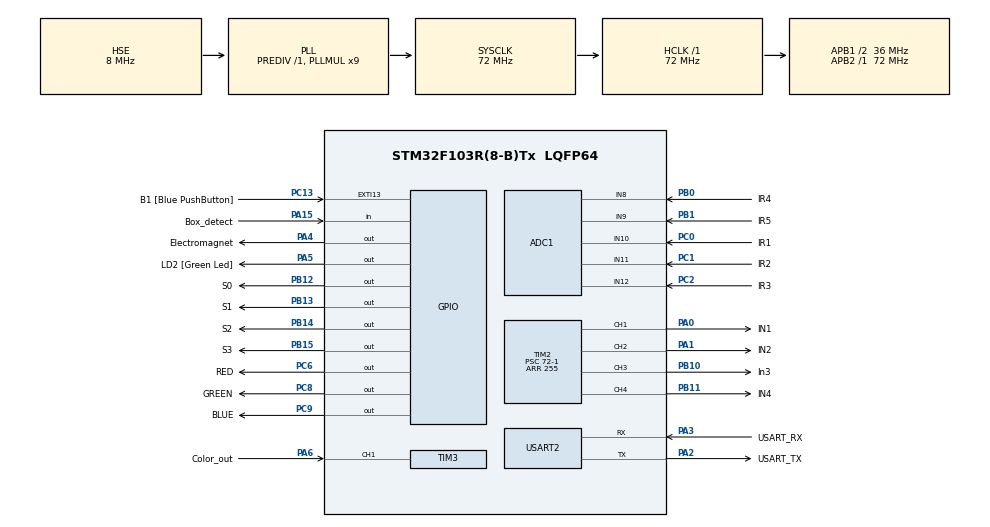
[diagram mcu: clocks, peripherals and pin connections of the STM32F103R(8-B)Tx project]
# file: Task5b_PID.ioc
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ADC1.Channel-0\#ChannelRegularConversion=ADC_CHANNEL_10
ADC1.Channel-1\#ChannelRegularConversion=ADC_CHANNEL_11
ADC1.Channel-2\#ChannelRegularConversion=ADC_CHANNEL_12
ADC1.Channel-3\#ChannelRegularConversion=ADC_CHANNEL_8
ADC1.Channel-4\#ChannelRegularConversion=ADC_CHANNEL_9
ADC1.ContinuousConvMode=ENABLE
ADC1.NbrOfConversion=5
ADC1.NbrOfConversionFlag=1
ADC1.Rank-0\#ChannelRegularConversion=1
ADC1.Rank-1\#ChannelRegularConversion=2
ADC1.Rank-2\#ChannelRegularConversion=3
ADC1.Rank-3\#ChannelRegularConversion=4
ADC1.Rank-4\#ChannelRegularConversion=5
ADC1.SamplingTime-0\#ChannelRegularConversion=ADC_SAMPLETIME_55CYCLES_5
ADC1.SamplingTime-1\#ChannelRegularConversion=ADC_SAMPLETIME_55CYCLES_5
ADC1.SamplingTime-2\#ChannelRegularConversion=ADC_SAMPLETIME_55CYCLES_5
ADC1.SamplingTime-3\#ChannelRegularConversion=ADC_SAMPLETIME_55CYCLES_5
ADC1.SamplingTime-4\#ChannelRegularConversion=ADC_SAMPLETIME_55CYCLES_5
ADC1.master=1
Dma.ADC1.0.Direction=DMA_PERIPH_TO_MEMORY
Dma.ADC1.0.Instance=DMA1_Channel1
Dma.ADC1.0.MemDataAlignment=DMA_MDATAALIGN_HALFWORD
Dma.ADC1.0.MemInc=DMA_MINC_ENABLE
Dma.ADC1.0.Mode=DMA_CIRCULAR
Dma.ADC1.0.PeriphDataAlignment=DMA_PDATAALIGN_HALFWORD
Dma.ADC1.0.PeriphInc=DMA_PINC_DISABLE
Dma.ADC1.0.Priority=DMA_PRIORITY_LOW
Dma.Request0=ADC1
Mcu.Family=STM32F1
Mcu.Name=STM32F103R(8-B)Tx
Mcu.Package=LQFP64
NVIC.ADC1_2_IRQn=true\:0\:0\:false\:false\:true\:true\:true\:true
NVIC.DMA1_Channel1_IRQn=true\:0\:0\:false\:false\:true\:false\:true\:true
NVIC.EXTI15_10_IRQn=true\:0\:0\:false\:false\:true\:true\:true\:true
NVIC.PriorityGroup=NVIC_PRIORITYGROUP_4
NVIC.TIM3_IRQn=true\:0\:0\:false\:false\:true\:true\:true\:true
PA0-WKUP.GPIO_Label=IN1
PA0-WKUP.Signal=S_TIM2_CH1_ETR
PA1.GPIO_Label=IN2
PA1.Signal=S_TIM2_CH2
PA13.GPIO_Label=TMS
PA13.Mode=Serial_Wire
PA13.Signal=SYS_JTMS-SWDIO
PA14.GPIO_Label=TCK
PA14.Mode=Serial_Wire
PA14.Signal=SYS_JTCK-SWCLK
PA15.GPIO_Label=Box_detect
PA15.Signal=GPIO_Input
PA2.GPIO_Label=USART_TX
PA2.GPIO_Mode=GPIO_MODE_AF_PP
PA2.GPIO_PuPd=GPIO_NOPULL
PA2.GPIO_Speed=GPIO_SPEED_FREQ_LOW
PA2.Mode=Asynchronous
PA2.Signal=USART2_TX
PA3.GPIO_Label=USART_RX
PA3.GPIO_Mode=GPIO_MODE_AF_PP
PA3.GPIO_PuPd=GPIO_NOPULL
PA3.GPIO_Speed=GPIO_SPEED_FREQ_LOW
PA3.Mode=Asynchronous
PA3.Signal=USART2_RX
PA4.GPIO_Label=Electromagnet
PA4.Signal=GPIO_Output
PA5.GPIO_Label=LD2 [Green Led]
PA5.GPIO_ModeDefaultOutputPP=GPIO_MODE_OUTPUT_PP
PA5.GPIO_PuPd=GPIO_NOPULL
PA5.GPIO_Speed=GPIO_SPEED_FREQ_LOW
PA5.Signal=GPIO_Output
PA6.GPIO_Label=Color_out
PA6.Signal=S_TIM3_CH1
PB0.GPIO_Label=IR4
PB0.Signal=ADCx_IN8
PB1.GPIO_Label=IR5
PB1.Signal=ADCx_IN9
PB10.GPIO_Label=In3
PB10.Signal=S_TIM2_CH3
PB11.GPIO_Label=IN4
PB11.Signal=S_TIM2_CH4
PB12.GPIO_Label=S0
PB12.Signal=GPIO_Output
PB13.GPIO_Label=S1
PB13.Signal=GPIO_Output
PB14.GPIO_Label=S2
PB14.Signal=GPIO_Output
PB15.GPIO_Label=S3
PB15.Signal=GPIO_Output
PB3.GPIO_Label=SWO
PB3.Signal=SYS_JTDO-TRACESWO
PC0.GPIO_Label=IR1
PC0.Signal=ADCx_IN10
PC1.GPIO_Label=IR2
PC1.Signal=ADCx_IN11
PC13-TAMPER-RTC.GPIO_Label=B1 [Blue PushButton]
PC13-TAMPER-RTC.GPIO_PuPd=GPIO_NOPULL
PC13-TAMPER-RTC.Signal=GPXTI13
PC14-OSC32_IN.Mode=LSE-External-Oscillator
PC14-OSC32_IN.Signal=RCC_OSC32_IN
PC15-OSC32_OUT.Mode=LSE-External-Oscillator
PC15-OSC32_OUT.Signal=RCC_OSC32_OUT
PC2.GPIO_Label=IR3
PC2.Signal=ADCx_IN12
PC6.GPIO_Label=RED
PC6.Signal=GPIO_Output
PC8.GPIO_Label=GREEN
PC8.Signal=GPIO_Output
PC9.GPIO_Label=BLUE
PC9.Signal=GPIO_Output
PD0-OSC_IN.Mode=HSE-External-Clock-Source
PD0-OSC_IN.Signal=RCC_OSC_IN
PD1-OSC_OUT.Mode=HSE-External-Clock-Source
PD1-OSC_OUT.Signal=RCC_OSC_OUT
ProjectManager.HeapSize=0x200
ProjectManager.StackSize=0x400
ProjectManager.TargetToolchain=STM32CubeIDE
RCC.ADCPresc=RCC_ADCPCLK2_DIV6
RCC.AHBFreq_Value=72000000
RCC.APB1CLKDivider=RCC_HCLK_DIV2
RCC.APB1Freq_Value=36000000
RCC.APB1TimFreq_Value=72000000
RCC.APB2Freq_Value=72000000
RCC.APB2TimFreq_Value=72000000
RCC.HCLKFreq_Value=72000000
RCC.PLLMUL=RCC_PLL_MUL9
RCC.PLLSourceVirtual=RCC_PLLSOURCE_HSE
RCC.RTCClockSelection=RCC_RTCCLKSOURCE_LSE
RCC.SYSCLKFreq_VALUE=72000000
RCC.SYSCLKSource=RCC_SYSCLKSOURCE_PLLCLK
RCC.USBFreq_Value=72000000
SH.ADCx_IN10.0=ADC1_IN10,IN10
SH.ADCx_IN11.0=ADC1_IN11,IN11
SH.ADCx_IN12.0=ADC1_IN12,IN12
SH.ADCx_IN8.0=ADC1_IN8,IN8
SH.ADCx_IN9.0=ADC1_IN9,IN9
SH.S_TIM2_CH1_ETR.0=TIM2_CH1,PWM Generation1 CH1
SH.S_TIM2_CH2.0=TIM2_CH2,PWM Generation2 CH2
SH.S_TIM2_CH3.0=TIM2_CH3,PWM Generation3 CH3
SH.S_TIM2_CH4.0=TIM2_CH4,PWM Generation4 CH4
SH.S_TIM3_CH1.0=TIM3_CH1,Input_Capture1_from_TI1
TIM2.Channel-PWM\ Generation1\ CH1=TIM_CHANNEL_1
TIM2.Channel-PWM\ Generation2\ CH2=TIM_CHANNEL_2
TIM2.Channel-PWM\ Generation3\ CH3=TIM_CHANNEL_3
TIM2.Channel-PWM\ Generation4\ CH4=TIM_CHANNEL_4
TIM2.Period=255
TIM2.Prescaler=72-1
TIM3.Channel-Input_Capture1_from_TI1=TIM_CHANNEL_1
USART2.VirtualMode=VM_ASYNC
board=NUCLEO-F103RB

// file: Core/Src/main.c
/* USER CODE BEGIN Header */
/**
  ******************************************************************************
  * @file           : main.c
  * @brief          : Refactored Reliable Line Follower (Dynamic Contrast)
  ******************************************************************************
  * @attention
  *
  * REWRITTEN FOR RELIABILITY
  * Implements Dynamic Contrast Detection to handle changing floor colors.
  *
  ******************************************************************************
  */
/* USER CODE END Header */
#include "main.h"
#include "Box_Handling.h"

/* USER CODE BEGIN Includes */
#include <math.h>
#include <stdlib.h>
#include <stdio.h>
/* USER CODE END Includes */

/* USER CODE BEGIN PD */
#define NUM_SENSORS 5

// --- TUNING PARAMETERS ---
#define KP 35.0f
#define KD 100.0f
#define BASE_SPEED 100
#define MAX_PWM 200
#define TURN_SPEED 90

// LOGIC THRESHOLDS
// If Average Sensor Value > 2500, we assume White Floor (High values)
#define FLOOR_COLOR_THRESHOLD 2500

/* USER CODE END PD */

ADC_HandleTypeDef hadc1;
DMA_HandleTypeDef hdma_adc1;

TIM_HandleTypeDef htim2;
TIM_HandleTypeDef htim3;

UART_HandleTypeDef huart2;

/* USER CODE BEGIN PV */
volatile uint16_t adc_buffer[NUM_SENSORS];

// Normalized Line Position (0-1000) for each sensor
float line_map[NUM_SENSORS];

// Weights: Left ... Center ... Right
const float sensor_weights[NUM_SENSORS] = {-2.0f, -1.0f, 0.0f, 1.0f, 2.0f};

/* USER CODE END PV */

void SystemClock_Config(void);
static void MX_GPIO_Init(void);
static void MX_DMA_Init(void);
static void MX_USART2_UART_Init(void);
static void MX_ADC1_Init(void);
static void MX_TIM2_Init(void);
static void MX_TIM3_Init(void);
/* USER CODE BEGIN PFP */
void Motor_SetSpeed(int left, int right);
void Handle_Turn(int direction);
void Calibrate_Sensors(void); // Keeping prototype but calibration is dynamic now
/* USER CODE END PFP */

/* USER CODE BEGIN 0 */

void Motor_SetSpeed(int left, int right) {
  if (left > 255) left = 255; else if (left < -255) left = -255;
  if (right > 255) right = 255; else if (right < -255) right = -255;

  if (left >= 0) {
    __HAL_TIM_SET_COMPARE(&htim2, TIM_CHANNEL_1, left);
    __HAL_TIM_SET_COMPARE(&htim2, TIM_CHANNEL_2, 0);
  } else {
    __HAL_TIM_SET_COMPARE(&htim2, TIM_CHANNEL_1, 0);
    __HAL_TIM_SET_COMPARE(&htim2, TIM_CHANNEL_2, -left);
  }

  if (right >= 0) {
    __HAL_TIM_SET_COMPARE(&htim2, TIM_CHANNEL_3, right);
    __HAL_TIM_SET_COMPARE(&htim2, TIM_CHANNEL_4, 0);
  } else {
    __HAL_TIM_SET_COMPARE(&htim2, TIM_CHANNEL_3, 0);
    __HAL_TIM_SET_COMPARE(&htim2, TIM_CHANNEL_4, -right);
  }
}

// Robust Turn Function using Dynamic Detection
void Handle_Turn(int direction) {
    // 1. Stop
    Motor_SetSpeed(0, 0);
    HAL_Delay(100);

    // 2. Move Forward slightly
    Motor_SetSpeed(80, 80);
    HAL_Delay(250);

    // 3. Start Spin
    int spd_L = (direction == -1) ? -TURN_SPEED : TURN_SPEED;
    int spd_R = (direction == -1) ? TURN_SPEED : -TURN_SPEED;
    Motor_SetSpeed(spd_L, spd_R);
    HAL_Delay(300); // Blind spin

    // 4. Wait for Line
    uint32_t start_time = HAL_GetTick();
    while (HAL_GetTick() - start_time < 2000) { // 2s Timeout
        // Determine Contrast
        long sum = 0;
        for(int i=0; i<NUM_SENSORS; i++) sum += adc_buffer[i];
        long avg = sum / NUM_SENSORS;

        int center_val = adc_buffer[2];
        int on_line = 0;

        // Dynamic Threshold Check
        if (avg > FLOOR_COLOR_THRESHOLD) {
             // White Floor: Line is Low (Dark)
             if (center_val < (avg - 600)) on_line = 1;
        } else {
             // Black Floor: Line is High (White)
             if (center_val > (avg + 600)) on_line = 1;
        }

        if (on_line) {
            Motor_SetSpeed(0, 0);
            return;
        }

        HAL_Delay(5);
    }
    // Timeout - Stop
    Motor_SetSpeed(0, 0);
}

void Calibrate_Sensors(void) {
    // Legacy support: Just blink to show readiness
    // Since we use dynamic contrast, we don't need MIN/MAX arrays hardcoded.
    HAL_GPIO_WritePin(GPIOC, RED_Pin, GPIO_PIN_SET);
    HAL_Delay(500);
    HAL_GPIO_WritePin(GPIOC, RED_Pin, GPIO_PIN_RESET);
}

/* USER CODE END 0 */

int main(void)
{

  /* MCU Configuration--------------------------------------------------------*/
  HAL_Init();

  SystemClock_Config();

  /* Initialize all configured peripherals */
  MX_GPIO_Init();
  MX_DMA_Init();
  MX_USART2_UART_Init();
  MX_ADC1_Init();
  MX_TIM2_Init();
  MX_TIM3_Init();
  /* USER CODE BEGIN 2 */

  HAL_TIM_PWM_Start(&htim2, TIM_CHANNEL_1);
  HAL_TIM_PWM_Start(&htim2, TIM_CHANNEL_2);
  HAL_TIM_PWM_Start(&htim2, TIM_CHANNEL_3);
  HAL_TIM_PWM_Start(&htim2, TIM_CHANNEL_4);

  HAL_ADC_Start_DMA(&hadc1, (uint32_t*)adc_buffer, NUM_SENSORS);

  // Wait to start
  HAL_Delay(1000);
  Calibrate_Sensors();

  /* Initialize Box Handling (Color Sensor + Electromagnet) */
  Box_Init(&htim3);

  float last_error = 0;

  /* USER CODE END 2 */

  /* Infinite loop */
  while (1)
  {

    /* USER CODE BEGIN 3 */

    // --- 1. SENSOR ANALYSIS ---
    long total_raw = 0;
    uint16_t max_val = 0;
    uint16_t min_val = 4096;

    for(int i=0; i<NUM_SENSORS; i++) {
        total_raw += adc_buffer[i];
        if (adc_buffer[i] > max_val) max_val = adc_buffer[i];
        if (adc_buffer[i] < min_val) min_val = adc_buffer[i];
    }
    long avg_raw = total_raw / NUM_SENSORS;

    // --- 2. DYNAMICAL NORMALIZATION ---
    // Detect Floor Color
    int white_floor = (avg_raw > FLOOR_COLOR_THRESHOLD);

    float weighted_sum = 0;
    float total_line_val = 0;

    for(int i=0; i<NUM_SENSORS; i++) {
        float val;

        if (white_floor) {
            // WHITE FLOOR (BackgroundHigh, LineLow)
            // Signal = (Background - Sensor)
            // Use local max as baseline for background to be robust
            if (max_val < 3800) max_val = 4095;

            val = (float)(max_val - adc_buffer[i]);
            if (val < 0) val = 0;
        } else {
            // BLACK FLOOR (BackgroundLow, LineHigh)
            // Signal = (Sensor - Background)
             // Use local min as baseline
            val = (float)(adc_buffer[i] - min_val);
            if (val < 0) val = 0;
        }

        line_map[i] = val;

        // Accumulate if signal is significant (> 300 to filter noise)
        if (val > 400.0f) {
            weighted_sum += val * sensor_weights[i];
            total_line_val += val;
        }
    }

    // --- 3. TURN DETECTION ---
    // If Edge Sensors are strongly triggered relative to center
    // Check normalized values strength (>700 is strong contrast)
    int turn_detected = 0;

    // Robust check: S0 is Strong AND triggers logic
    if (line_map[0] > 700 && line_map[0] > line_map[2] * 1.5) {
         Handle_Turn(-1);
         turn_detected = 1;
    }
    else if (line_map[4] > 700 && line_map[4] > line_map[2] * 1.5) {
         Handle_Turn(1);
         turn_detected = 1;
    }

    if (turn_detected) {
        last_error = 0;
        continue;
    }

    // --- 4. PID CALCULATION ---
    float position;
    if (total_line_val > 500) {
        position = weighted_sum / total_line_val;
    } else {
        // Line Lost -> Use last error to sweep
        if (last_error > 0) position = 2.5f;
        else position = -2.5f;
    }

    float error = position;
    float P = error;
    float D = error - last_error;
    last_error = error;

    float correction = (KP * P) + (KD * D);

    int left_motor = BASE_SPEED + (int)correction;
    int right_motor = BASE_SPEED - (int)correction;

    Motor_SetSpeed(left_motor, right_motor);

    /* Box Handling Process (Keep running this) */
    Box_Process();

    HAL_Delay(1);
  }
  /* USER CODE END 3 */
}
//...
// (Previous MX Functions follow, identical to before)
//...
void SystemClock_Config(void)
{
  RCC_OscInitTypeDef RCC_OscInitStruct = {0};
  RCC_ClkInitTypeDef RCC_ClkInitStruct = {0};
  RCC_PeriphCLKInitTypeDef PeriphClkInit = {0};
  RCC_OscInitStruct.OscillatorType = RCC_OSCILLATORTYPE_HSE;
  RCC_OscInitStruct.HSEState = RCC_HSE_BYPASS;
  RCC_OscInitStruct.HSEPredivValue = RCC_HSE_PREDIV_DIV1;
  RCC_OscInitStruct.HSIState = RCC_HSI_ON;
  RCC_OscInitStruct.PLL.PLLState = RCC_PLL_ON;
  RCC_OscInitStruct.PLL.PLLSource = RCC_PLLSOURCE_HSE;
  RCC_OscInitStruct.PLL.PLLMUL = RCC_PLL_MUL9;
  if (HAL_RCC_OscConfig(&RCC_OscInitStruct) != HAL_OK) Error_Handler();
  RCC_ClkInitStruct.ClockType = RCC_CLOCKTYPE_HCLK|RCC_CLOCKTYPE_SYSCLK|RCC_CLOCKTYPE_PCLK1|RCC_CLOCKTYPE_PCLK2;
  RCC_ClkInitStruct.SYSCLKSource = RCC_SYSCLKSOURCE_PLLCLK;
  RCC_ClkInitStruct.AHBCLKDivider = RCC_SYSCLK_DIV1;
  RCC_ClkInitStruct.APB1CLKDivider = RCC_HCLK_DIV2;
  RCC_ClkInitStruct.APB2CLKDivider = RCC_HCLK_DIV1;
  if (HAL_RCC_ClockConfig(&RCC_ClkInitStruct, FLASH_LATENCY_2) != HAL_OK) Error_Handler();
  PeriphClkInit.PeriphClockSelection = RCC_PERIPHCLK_ADC;
  PeriphClkInit.AdcClockSelection = RCC_ADCPCLK2_DIV6;
  if (HAL_RCCEx_PeriphCLKConfig(&PeriphClkInit) != HAL_OK) Error_Handler();
}

static void MX_ADC1_Init(void)
{
  ADC_ChannelConfTypeDef sConfig = {0};
  hadc1.Instance = ADC1;
  hadc1.Init.ScanConvMode = ADC_SCAN_ENABLE;
  hadc1.Init.ContinuousConvMode = ENABLE;
  hadc1.Init.DiscontinuousConvMode = DISABLE;
  hadc1.Init.ExternalTrigConv = ADC_SOFTWARE_START;
  hadc1.Init.DataAlign = ADC_DATAALIGN_RIGHT;
  hadc1.Init.NbrOfConversion = 5;
  if (HAL_ADC_Init(&hadc1) != HAL_OK) Error_Handler();
  sConfig.Channel = ADC_CHANNEL_10; sConfig.Rank = ADC_REGULAR_RANK_1; sConfig.SamplingTime = ADC_SAMPLETIME_55CYCLES_5;
  if (HAL_ADC_ConfigChannel(&hadc1, &sConfig) != HAL_OK) Error_Handler();
  sConfig.Channel = ADC_CHANNEL_11; sConfig.Rank = ADC_REGULAR_RANK_2;
  if (HAL_ADC_ConfigChannel(&hadc1, &sConfig) != HAL_OK) Error_Handler();
  sConfig.Channel = ADC_CHANNEL_12; sConfig.Rank = ADC_REGULAR_RANK_3;
  if (HAL_ADC_ConfigChannel(&hadc1, &sConfig) != HAL_OK) Error_Handler();
  sConfig.Channel = ADC_CHANNEL_8; sConfig.Rank = ADC_REGULAR_RANK_4;
  if (HAL_ADC_ConfigChannel(&hadc1, &sConfig) != HAL_OK) Error_Handler();
  sConfig.Channel = ADC_CHANNEL_9; sConfig.Rank = ADC_REGULAR_RANK_5;
  if (HAL_ADC_ConfigChannel(&hadc1, &sConfig) != HAL_OK) Error_Handler();
}

static void MX_TIM2_Init(void)
{
  TIM_MasterConfigTypeDef sMasterConfig = {0};
  TIM_OC_InitTypeDef sConfigOC = {0};
  htim2.Instance = TIM2;
  htim2.Init.Prescaler = 72-1;
  htim2.Init.CounterMode = TIM_COUNTERMODE_UP;
  htim2.Init.Period = 255;
  htim2.Init.ClockDivision = TIM_CLOCKDIVISION_DIV1;
  htim2.Init.AutoReloadPreload = TIM_AUTORELOAD_PRELOAD_DISABLE;
  if (HAL_TIM_PWM_Init(&htim2) != HAL_OK) Error_Handler();
  sMasterConfig.MasterOutputTrigger = TIM_TRGO_RESET;
  sMasterConfig.MasterSlaveMode = TIM_MASTERSLAVEMODE_DISABLE;
  if (HAL_TIMEx_MasterConfigSynchronization(&htim2, &sMasterConfig) != HAL_OK) Error_Handler();
  sConfigOC.OCMode = TIM_OCMODE_PWM1;
  sConfigOC.Pulse = 0;
  sConfigOC.OCPolarity = TIM_OCPOLARITY_HIGH;
  sConfigOC.OCFastMode = TIM_OCFAST_DISABLE;
  HAL_TIM_PWM_ConfigChannel(&htim2, &sConfigOC, TIM_CHANNEL_1);
  HAL_TIM_PWM_ConfigChannel(&htim2, &sConfigOC, TIM_CHANNEL_2);
  HAL_TIM_PWM_ConfigChannel(&htim2, &sConfigOC, TIM_CHANNEL_3);
  HAL_TIM_PWM_ConfigChannel(&htim2, &sConfigOC, TIM_CHANNEL_4);
  HAL_TIM_MspPostInit(&htim2);
}

static void MX_TIM3_Init(void)
{
  TIM_MasterConfigTypeDef sMasterConfig = {0};
  TIM_IC_InitTypeDef sConfigIC = {0};
  htim3.Instance = TIM3;
  htim3.Init.Prescaler = 0;
  htim3.Init.CounterMode = TIM_COUNTERMODE_UP;
  htim3.Init.Period = 65535;
  htim3.Init.ClockDivision = TIM_CLOCKDIVISION_DIV1;
  htim3.Init.AutoReloadPreload = TIM_AUTORELOAD_PRELOAD_DISABLE;
  if (HAL_TIM_IC_Init(&htim3) != HAL_OK) Error_Handler();
  sMasterConfig.MasterOutputTrigger = TIM_TRGO_RESET;
  sMasterConfig.MasterSlaveMode = TIM_MASTERSLAVEMODE_DISABLE;
  if (HAL_TIMEx_MasterConfigSynchronization(&htim3, &sMasterConfig) != HAL_OK) Error_Handler();
  sConfigIC.ICPolarity = TIM_INPUTCHANNELPOLARITY_RISING;
  sConfigIC.ICSelection = TIM_ICSELECTION_DIRECTTI;
  sConfigIC.ICPrescaler = TIM_ICPSC_DIV1;
  sConfigIC.ICFilter = 0;
  HAL_TIM_IC_ConfigChannel(&htim3, &sConfigIC, TIM_CHANNEL_1);
}

static void MX_USART2_UART_Init(void)
{
  huart2.Instance = USART2;
  huart2.Init.BaudRate = 115200;
  huart2.Init.WordLength = UART_WORDLENGTH_8B;
  huart2.Init.StopBits = UART_STOPBITS_1;
  huart2.Init.Parity = UART_PARITY_NONE;
  huart2.Init.Mode = UART_MODE_TX_RX;
  huart2.Init.HwFlowCtl = UART_HWCONTROL_NONE;
  huart2.Init.OverSampling = UART_OVERSAMPLING_16;
  HAL_UART_Init(&huart2);
}

static void MX_DMA_Init(void)
{
  __HAL_RCC_DMA1_CLK_ENABLE();
  HAL_NVIC_SetPriority(DMA1_Channel1_IRQn, 0, 0);
  HAL_NVIC_EnableIRQ(DMA1_Channel1_IRQn);
}

static void MX_GPIO_Init(void)
{
  GPIO_InitTypeDef GPIO_InitStruct = {0};
  __HAL_RCC_GPIOC_CLK_ENABLE();
  __HAL_RCC_GPIOD_CLK_ENABLE();
  __HAL_RCC_GPIOA_CLK_ENABLE();
  __HAL_RCC_GPIOB_CLK_ENABLE();
  HAL_GPIO_WritePin(GPIOA, Electromagnet_Pin|LD2_Pin, GPIO_PIN_RESET);
  HAL_GPIO_WritePin(GPIOB, S0_Pin|S1_Pin|S2_Pin|S3_Pin, GPIO_PIN_RESET);
  HAL_GPIO_WritePin(GPIOC, RED_Pin|GREEN_Pin|BLUE_Pin, GPIO_PIN_RESET);
  GPIO_InitStruct.Pin = B1_Pin;
  GPIO_InitStruct.Mode = GPIO_MODE_IT_RISING;
  GPIO_InitStruct.Pull = GPIO_NOPULL;
  HAL_GPIO_Init(B1_GPIO_Port, &GPIO_InitStruct);
  GPIO_InitStruct.Pin = Electromagnet_Pin|LD2_Pin;
  GPIO_InitStruct.Mode = GPIO_MODE_OUTPUT_PP;
  GPIO_InitStruct.Pull = GPIO_NOPULL;
  GPIO_InitStruct.Speed = GPIO_SPEED_FREQ_LOW;
  HAL_GPIO_Init(GPIOA, &GPIO_InitStruct);
  GPIO_InitStruct.Pin = S0_Pin|S1_Pin|S2_Pin|S3_Pin;
  GPIO_InitStruct.Mode = GPIO_MODE_OUTPUT_PP;
  GPIO_InitStruct.Pull = GPIO_NOPULL;
  GPIO_InitStruct.Speed = GPIO_SPEED_FREQ_LOW;
  HAL_GPIO_Init(GPIOB, &GPIO_InitStruct);
  GPIO_InitStruct.Pin = RED_Pin|GREEN_Pin|BLUE_Pin;
  GPIO_InitStruct.Mode = GPIO_MODE_OUTPUT_PP;
  GPIO_InitStruct.Pull = GPIO_NOPULL;
  GPIO_InitStruct.Speed = GPIO_SPEED_FREQ_LOW;
  HAL_GPIO_Init(GPIOC, &GPIO_InitStruct);
  GPIO_InitStruct.Pin = Box_detect_Pin;
  GPIO_InitStruct.Mode = GPIO_MODE_INPUT;
  GPIO_InitStruct.Pull = GPIO_NOPULL;
  HAL_GPIO_Init(Box_detect_GPIO_Port, &GPIO_InitStruct);
  HAL_NVIC_SetPriority(EXTI15_10_IRQn, 0, 0);
  HAL_NVIC_EnableIRQ(EXTI15_10_IRQn);
}

void Error_Handler(void)
{
  __disable_irq();
  while (1) { }
}
